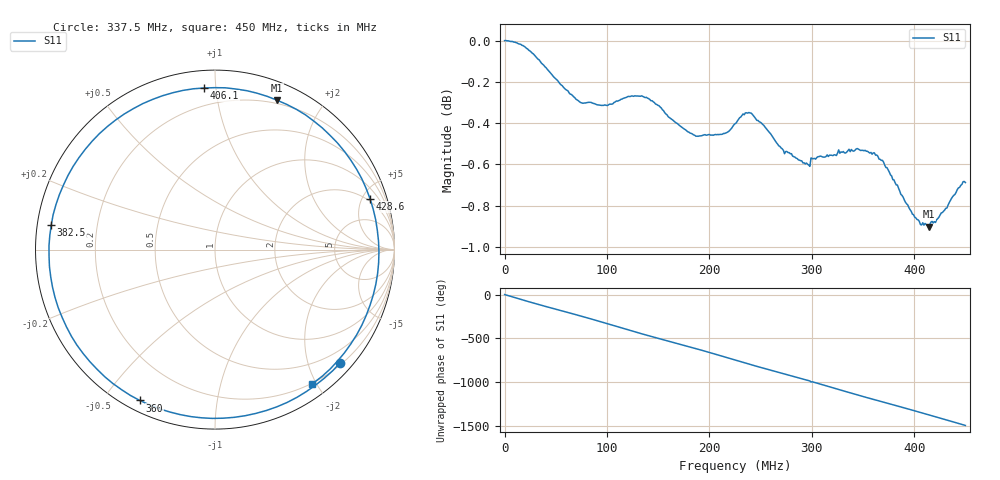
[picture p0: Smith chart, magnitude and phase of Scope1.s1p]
! NanoVNA-App
! Date: 2026-10-05 11:16:38
! Start: 50kHz Stop: 450MHz Points: 401
! S-Parameter data: F S11
# Hz S RI R 50
!  Frequency  S11_Real  S11_Imag
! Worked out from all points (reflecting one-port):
!   401 points, 50 kHz to 450 MHz, reference 50 ohm
!   lowest |S11| = -0.9 dB at 414 MHz (marker M1), VSWR 19.28, Z = 8.35 + j74.2 ohm
!   phase of S11 starts at -0 deg and turns -1494 deg over the sweep
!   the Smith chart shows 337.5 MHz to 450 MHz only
!   S11 on the Smith chart (normalised r, x): 337.5 MHz: 0.24, -2.58; 360 MHz: 0.04, -0.62; 382.5 MHz: 0.04, +0.07; 406.1 MHz: 0.10, +0.93; 428.6 MHz: 1.76, +5.74; 450 MHz: 0.19, -1.94
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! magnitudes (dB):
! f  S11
! 50 kHz  0.0
! 20.3 MHz  0.0
! 56.29 MHz  -0.2
! 75.42 MHz  -0.3
! 99.04 MHz  -0.3
! 112.5 MHz  -0.3
! 126 MHz  -0.3
! 139.5 MHz  -0.3
! 168.8 MHz  -0.4
! 189 MHz  -0.5
! 213.8 MHz  -0.4
! 225 MHz  -0.4
! 234 MHz  -0.4
! 240.8 MHz  -0.4
! 271.1 MHz  -0.5
! 281.3 MHz  -0.6
! 295.9 MHz  -0.6
! 301.5 MHz  -0.6
! 337.5 MHz  -0.5
! 360 MHz  -0.5
! 369 MHz  -0.6
! 382.5 MHz  -0.7
! 393.8 MHz  -0.8
! 406.1 MHz  -0.9
! 414 MHz  -0.9
! 428.6 MHz  -0.8
! 445.5 MHz  -0.7
! 450 MHz  -0.7
